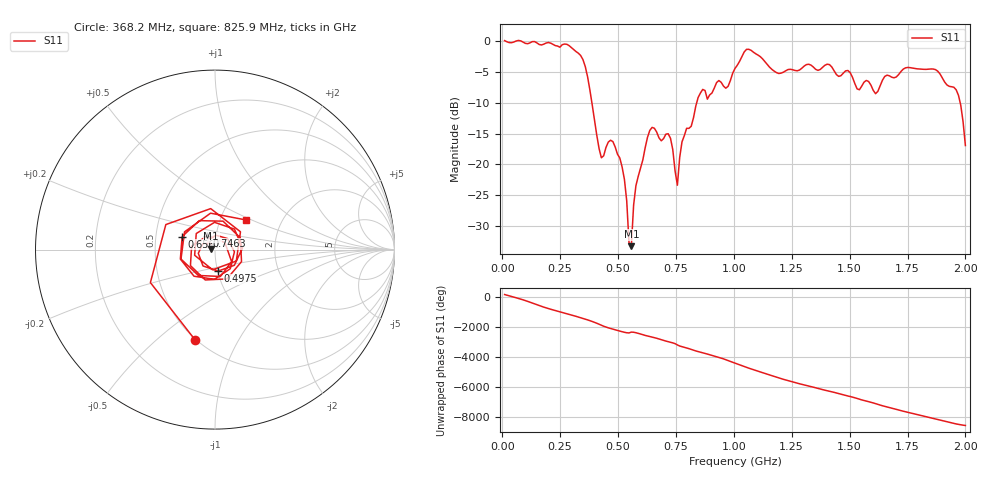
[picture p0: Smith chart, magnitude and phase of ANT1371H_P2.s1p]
!Created with skrf (http://scikit-rf.org).
# Hz S RI R 50.0
!freq ReS11 ImS11
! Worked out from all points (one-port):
!   201 points, 10 MHz to 2 GHz, reference 50 ohm
!   lowest |S11| = -33.3 dB at 557.2 MHz (marker M1), VSWR 1.04, Z = 47.9 + j0.466 ohm
!   |S11| at or under -10 dB: 387.1 MHz to 839.4 MHz (452.3 MHz wide, 73.8 % of centre); 1.978 GHz to end of sweep
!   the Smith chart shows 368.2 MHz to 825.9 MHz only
!   S11 on the Smith chart (normalised r, x): 368.2 MHz: 0.49, -0.68; 497.6 MHz: 1.00, -0.24; 656.8 MHz: 0.68, +0.10; 746.3 MHz: 0.90, +0.14; 825.9 MHz: 1.33, +0.47
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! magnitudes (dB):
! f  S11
! 10 MHz  0.1
! 258.8 MHz  -0.5
! 338.4 MHz  -2.3
! 368.2 MHz  -5.7
! 427.9 MHz  -18.9
! 467.7 MHz  -16.1
! 497.6 MHz  -18.3
! 507.5 MHz  -18.9
! 527.4 MHz  -22.4
! 547.3 MHz  -32.7
! 557.2 MHz  -33.3
! 577.1 MHz  -23.4
! 656.8 MHz  -14.1
! 726.4 MHz  -15.7
! 746.3 MHz  -21.1
! 756.2 MHz  -23.4
! 776.1 MHz  -16.3
! 825.9 MHz  -12.4
! 865.7 MHz  -7.8
! 965.2 MHz  -7.6
! 1.005 GHz  -4.4
! 1.065 GHz  -1.3
! 1.254 GHz  -4.6
! 1.502 GHz  -5.1
! 1.612 GHz  -8.5
! 1.751 GHz  -4.2
! 1.96 GHz  -7.9
! 2 GHz  -16.9
